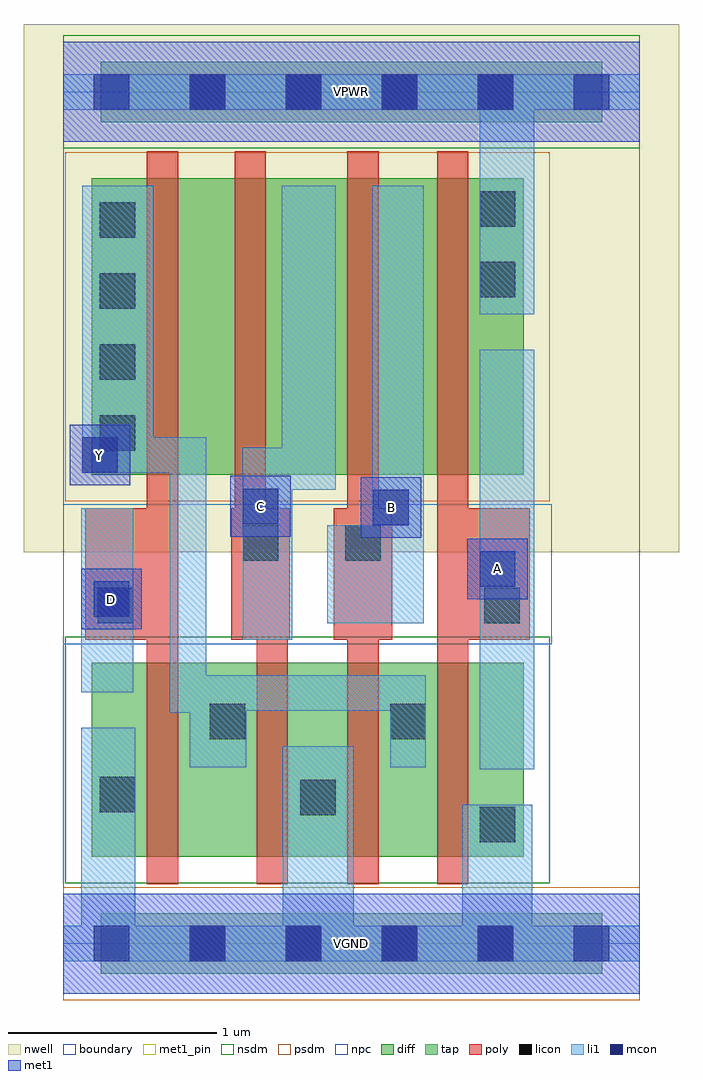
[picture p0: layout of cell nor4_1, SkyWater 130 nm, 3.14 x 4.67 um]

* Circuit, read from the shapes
.subckt nor4_1 A B C D VGND VPWR Y
XM1 Y D VGND VGND sky130_fd_pr__nfet_01v8 w=0.93 l=0.15
XM2 VGND C Y VGND sky130_fd_pr__nfet_01v8 w=0.93 l=0.15
XM3 Y B VGND VGND sky130_fd_pr__nfet_01v8 w=0.93 l=0.15
XM4 VGND A Y VGND sky130_fd_pr__nfet_01v8 w=0.93 l=0.15
XM5 n1 D Y VPWR sky130_fd_pr__pfet_01v8 w=1.42 l=0.15
XM6 n2 C n1 VPWR sky130_fd_pr__pfet_01v8 w=1.42 l=0.15
XM7 n3 B n2 VPWR sky130_fd_pr__pfet_01v8 w=1.42 l=0.15
XM8 VPWR A n3 VPWR sky130_fd_pr__pfet_01v8 w=1.42 l=0.15
.ends

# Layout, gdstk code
import gdstk
lib = gdstk.Library(unit=1e-6, precision=1e-09)
def R(c, l, rs):  # rectangles x0, y0, x1, y1
    for r in rs: c.add(gdstk.rectangle(r[:2], r[2:], *l))
def A(c, l, x, y, w, h, nx, ny, dx, dy):  # array of equal rectangles
    R(c, l, [(x+i*dx, y+j*dy, x+i*dx+w, y+j*dy+h) for i in range(nx) for j in range(ny)])
nwell = (64, 20)
diff = (65, 20)
tap = (65, 44)
poly = (66, 20)
licon = (66, 44)
li1 = (67, 20)
mcon = (67, 44)
met1_pin = (68, 16)
met1 = (68, 20)
nsdm = (93, 44)
psdm = (94, 20)
npc = (95, 20)
boundary = (235, 4)

nor4_1 = lib.new_cell('nor4_1')
R(nor4_1, nwell, [(-0.19,1.875,2.95,4.405), (0,1.875,2.76,4.405)])
R(nor4_1, diff, [(0.135,0.415,2.205,1.345), (0.135,2.245,2.205,3.665)])
R(nor4_1, tap, [(0.18,-0.145,2.58,0.145), (0.18,3.935,2.58,4.225)])
R(nor4_1, poly, [(0.4,0.285,0.55,3.795), (0.925,0.285,1.075,2.085), (1.36,0.285,1.51,3.795), (1.79,0.285,1.94,3.795), (0.105,1.455,0.55,2.085), (0.805,1.455,1.085,2.085), (0.82,1.455,0.97,3.795), (1.295,1.455,1.575,2.085), (1.79,1.455,2.235,2.085)])
A(nor4_1, licon, 0.605, -0.085, 0.17, 0.17, 4, 2, 0.46, 4.08)
A(nor4_1, licon, 0.175, 2.36, 0.17, 0.17, 1, 4, 0, 0.34)
R(nor4_1, licon, [(1.995,0.485,2.165,0.655), (1.135,0.615,1.305,0.785), (0.175,0.63,0.345,0.8), (0.7,0.98,0.87,1.15), (1.565,0.98,1.735,1.15), (0.165,1.535,0.335,1.705), (2.015,1.535,2.185,1.705), (0.86,1.835,1.03,2.005), (1.35,1.835,1.52,2.005), (1.995,3.095,2.165,3.265), (1.995,3.435,2.165,3.605)])
R(nor4_1, li1, [(0,-0.085,2.76,0.085), (0.085,-0.085,0.345,1.035), (1.05,-0.085,1.39,0.945), (1.91,-0.085,2.245,0.665), (1.995,0.835,2.255,2.845), (0.605,0.845,0.875,1.285), (1.565,0.845,1.735,1.285), (0.51,1.105,0.685,2.425), (0.51,1.115,1.735,1.285), (0.085,1.205,0.335,2.085), (0.86,1.455,1.095,2.375), (1.265,1.535,1.725,2.005), (1.48,1.535,1.725,3.63), (1.045,2.175,1.305,3.63), (0.09,2.255,0.43,3.63), (0.09,2.255,0.685,2.425), (1.995,3.015,2.255,4.165), (0,3.995,2.76,4.165)])
A(nor4_1, mcon, 0.145, -0.085, 0.17, 0.17, 6, 2, 0.46, 4.08)
R(nor4_1, mcon, [(0.145,1.565,0.315,1.735), (1.995,1.71,2.165,1.88), (1.485,2.005,1.655,2.175), (0.86,2.01,1.03,2.18), (0.09,2.255,0.26,2.425)])
R(nor4_1, met1_pin, [(0,-0.24,2.76,0.24), (0.085,1.505,0.375,1.795), (1.935,1.65,2.225,1.94), (1.425,1.945,1.715,2.235), (0.8,1.95,1.09,2.24), (0.03,2.195,0.32,2.485), (0,3.84,2.76,4.32)])
R(nor4_1, met1, [(0,-0.24,2.76,0.24), (0.085,1.505,0.375,1.795), (1.935,1.65,2.225,1.94), (1.425,1.945,1.715,2.235), (0.8,1.95,1.09,2.24), (0.03,2.195,0.32,2.485), (0,3.84,2.76,4.32)])
R(nor4_1, nsdm, [(0.01,0.29,2.33,1.47), (0,3.81,2.76,4.35)])
R(nor4_1, psdm, [(0,-0.27,2.76,0.27), (0.01,2.12,2.33,3.79)])
R(nor4_1, npc, [(0,1.435,2.34,2.105)])
R(nor4_1, boundary, [(0,0,2.76,4.08)])
nor4_1.add(gdstk.Label('A', (2.08,1.795), layer=68, texttype=5))
nor4_1.add(gdstk.Label('B', (1.57,2.09), layer=68, texttype=5))
nor4_1.add(gdstk.Label('C', (0.945,2.095), layer=68, texttype=5))
nor4_1.add(gdstk.Label('D', (0.23,1.65), layer=68, texttype=5))
nor4_1.add(gdstk.Label('Y', (0.175,2.34), layer=68, texttype=5))
nor4_1.add(gdstk.Label('VPWR', (1.38,4.08), layer=68, texttype=5))
nor4_1.add(gdstk.Label('VGND', (1.38,0), layer=68, texttype=5))
nor4_1.add(gdstk.Label('A', (2.08,1.795), layer=68, texttype=16))
nor4_1.add(gdstk.Label('B', (1.57,2.09), layer=68, texttype=16))
nor4_1.add(gdstk.Label('C', (0.945,2.095), layer=68, texttype=16))
nor4_1.add(gdstk.Label('D', (0.23,1.65), layer=68, texttype=16))
nor4_1.add(gdstk.Label('Y', (0.175,2.34), layer=68, texttype=16))
nor4_1.add(gdstk.Label('VPWR', (1.38,4.08), layer=68, texttype=16))
nor4_1.add(gdstk.Label('VGND', (1.38,0), layer=68, texttype=16))

lib.write_gds('nor4_1.gds')
